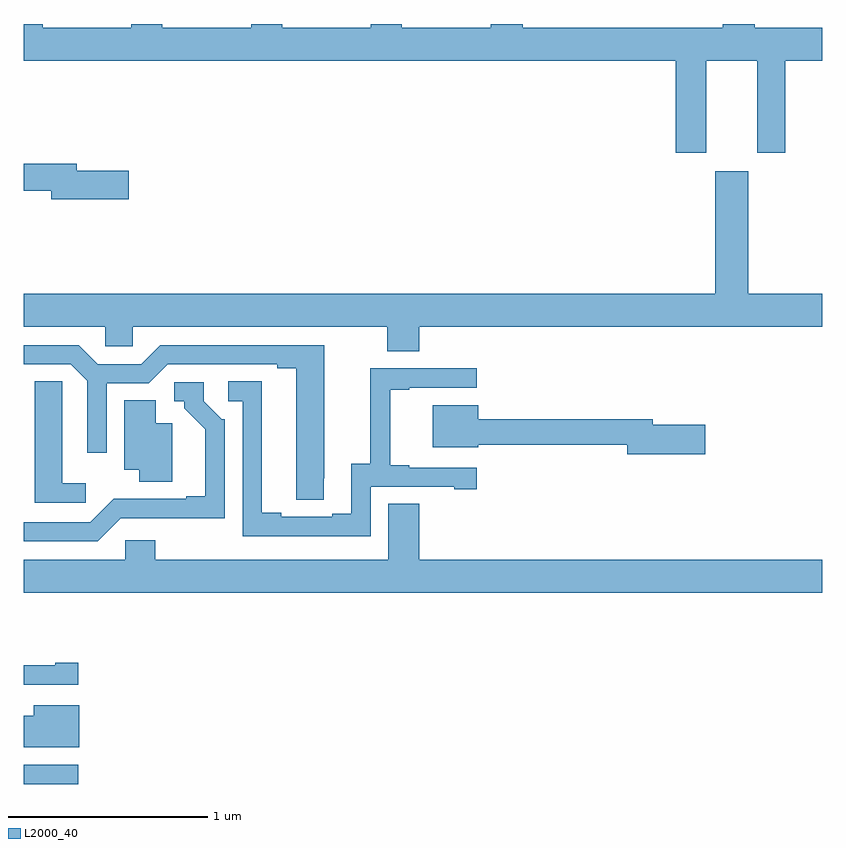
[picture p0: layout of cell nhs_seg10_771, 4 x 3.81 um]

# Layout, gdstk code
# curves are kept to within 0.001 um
import gdstk
lib = gdstk.Library(unit=1e-6, precision=1e-09)
def R(c, l, rs):  # rectangles x0, y0, x1, y1
    for r in rs: c.add(gdstk.rectangle(r[:2], r[2:], *l))
def P(c, l, *ps):  # polygons
    for p in ps: c.add(gdstk.Polygon(p, *l))
L2000_40 = (2000, 40)

nhs_seg10_771 = lib.new_cell('nhs_seg10_771')
R(nhs_seg10_771, L2000_40, [(149,1296.693,149.272,1296.789)])
P(nhs_seg10_771, L2000_40, [(152.419,1300.316),(152.675,1300.316),(152.675,1299.855),(152.815,1299.855),(152.815,1300.316),(153,1300.316),(153,1300.48),(152.661,1300.48),(152.661,1300.5),(152.501,1300.5),(152.501,1300.48),(151.499,1300.48),(151.499,1300.5),(151.339,1300.5),(151.339,1300.48),(150.894,1300.48),(150.894,1300.5),(150.739,1300.5),(150.739,1300.48),(150.294,1300.48),(150.294,1300.5),(150.139,1300.5),(150.139,1300.48),(149.694,1300.48),(149.694,1300.5),(149.539,1300.5),(149.539,1300.48),(149.094,1300.48),(149.094,1300.5),(149,1300.5),(149,1300.316),(152.267,1300.316),(152.267,1299.855),(152.419,1299.855)],
  [(149.527,1299.764),(149.266,1299.764),(149.266,1299.8),(149,1299.8),(149,1299.664),(149.138,1299.664),(149.138,1299.622),(149.527,1299.622)],
  [(150.98,1298.984),(153,1298.984),(153,1299.148),(152.629,1299.148),(152.629,1299.763),(152.465,1299.763),(152.465,1299.148),(149,1299.148),(149,1298.984),(149.409,1298.984),(149.409,1298.886),(149.547,1298.886),(149.547,1298.984),(150.82,1298.984),(150.82,1298.86),(150.98,1298.86)],
  [(150.504,1298.224),(150.505,1298.892),(149.685,1298.892),(149.589,1298.796),(149.371,1298.796),(149.275,1298.892),(149,1298.892),(149,1298.796),(149.235,1298.796),(149.319,1298.712),(149.319,1298.352),(149.415,1298.352),(149.415,1298.7),(149.625,1298.7),(149.721,1298.796),(150.269,1298.796),(150.269,1298.776),(150.365,1298.776),(150.365,1298.116),(150.504,1298.116)],
  [(150.738,1298.181),(151.157,1298.181),(151.157,1298.169),(151.27,1298.169),(151.27,1298.277),(150.931,1298.277),(150.931,1298.29),(150.836,1298.29),(150.836,1298.667),(150.931,1298.667),(150.931,1298.679),(151.27,1298.679),(151.27,1298.775),(150.736,1298.775),(150.736,1298.297),(150.641,1298.297),(150.641,1298.046),(150.545,1298.046),(150.545,1298.031),(150.289,1298.031),(150.289,1298.051),(150.193,1298.051),(150.193,1298.711),(150.024,1298.711),(150.024,1298.61),(150.096,1298.61),(150.096,1297.935),(150.738,1297.935)],
  [(149.311,1298.2),(149.194,1298.2),(149.194,1298.603),(149.193,1298.603),(149.193,1298.711),(149.054,1298.711),(149.054,1298.103),(149.311,1298.103)],
  [(149.487,1298.025),(150.006,1298.024),(150.006,1298.52),(149.991,1298.52),(149.901,1298.61),(149.901,1298.706),(149.754,1298.706),(149.754,1298.61),(149.804,1298.61),(149.804,1298.575),(149.909,1298.47),(149.909,1298.134),(149.813,1298.134),(149.813,1298.121),(149.452,1298.122),(149.334,1298.004),(149,1298.004),(149,1297.908),(149.37,1297.908)],
  [(149.743,1298.5),(149.662,1298.5),(149.662,1298.615),(149.504,1298.615),(149.504,1298.267),(149.579,1298.267),(149.579,1298.206),(149.743,1298.206)],
  [(152.413,1298.492),(152.152,1298.492),(152.152,1298.521),(151.276,1298.521),(151.276,1298.59),(151.049,1298.59),(151.049,1298.381),(151.276,1298.381),(151.276,1298.392),(152.024,1298.392),(152.024,1298.345),(152.413,1298.345)],
  [(153,1297.816),(150.98,1297.816),(150.98,1298.096),(150.827,1298.096),(150.827,1297.816),(149.66,1297.816),(149.66,1297.914),(149.508,1297.914),(149.508,1297.816),(149,1297.816),(149,1297.652),(153,1297.652)],
  [(149.272,1297.3),(149.159,1297.3),(149.159,1297.287),(149,1297.287),(149,1297.191),(149.272,1297.191)],
  [(149.278,1297.087),(149.051,1297.087),(149.051,1297.036),(149,1297.036),(149,1296.878),(149.278,1296.878)])

lib.write_gds('nhs_seg10_771.gds')
